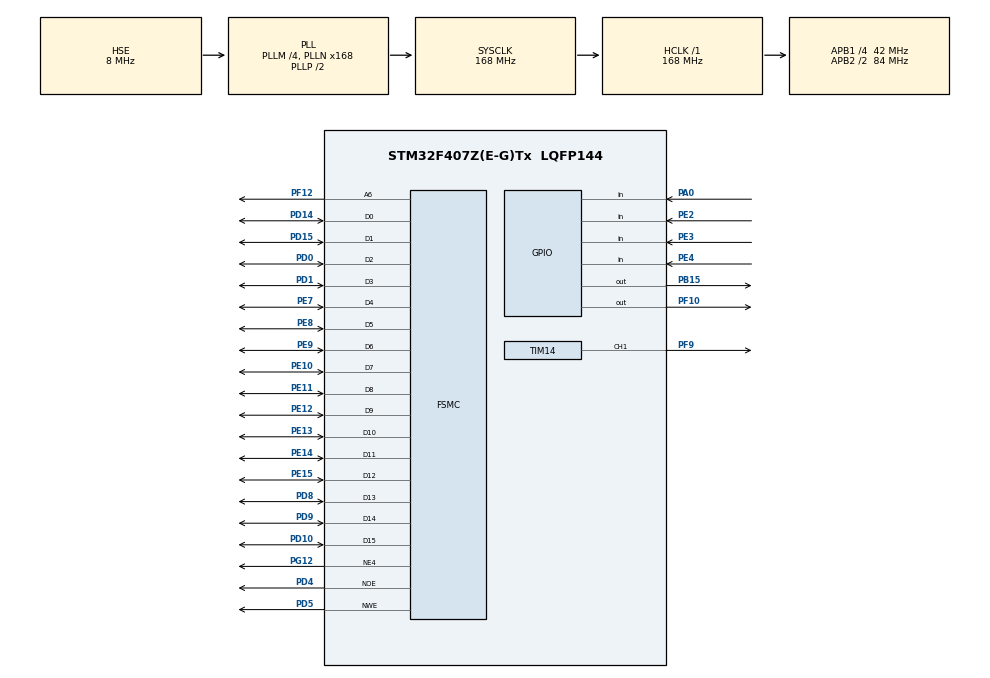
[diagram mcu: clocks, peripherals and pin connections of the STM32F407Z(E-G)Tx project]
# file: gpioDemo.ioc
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FSMC.ExtendedMode1=FSMC_EXTENDED_MODE_ENABLE
Mcu.Family=STM32F4
Mcu.Name=STM32F407Z(E-G)Tx
Mcu.Package=LQFP144
NVIC.PriorityGroup=NVIC_PRIORITYGROUP_2
NVIC.TIM2_IRQn=true\:0\:0\:false\:false\:true\:true
NVIC.TIM3_IRQn=true\:0\:0\:false\:false\:true\:true
PA0-WKUP.GPIO_PuPd=GPIO_PULLDOWN
PA0-WKUP.Signal=GPIO_Input
PB15.Signal=GPIO_Output
PC14-OSC32_IN.Mode=LSE-External-Oscillator
PC14-OSC32_IN.Signal=RCC_OSC32_IN
PC15-OSC32_OUT.Mode=LSE-External-Oscillator
PC15-OSC32_OUT.Signal=RCC_OSC32_OUT
PD0.Signal=FSMC_D2_DA2
PD1.Signal=FSMC_D3_DA3
PD10.Signal=FSMC_D15_DA15
PD14.Signal=FSMC_D0_DA0
PD15.Signal=FSMC_D1_DA1
PD4.Signal=FSMC_NOE
PD5.Signal=FSMC_NWE
PD8.Signal=FSMC_D13_DA13
PD9.Signal=FSMC_D14_DA14
PE10.Signal=FSMC_D7_DA7
PE11.Signal=FSMC_D8_DA8
PE12.Signal=FSMC_D9_DA9
PE13.Signal=FSMC_D10_DA10
PE14.Signal=FSMC_D11_DA11
PE15.Signal=FSMC_D12_DA12
PE2.GPIO_PuPd=GPIO_PULLUP
PE2.Signal=GPIO_Input
PE3.GPIO_PuPd=GPIO_PULLUP
PE3.Signal=GPIO_Input
PE4.GPIO_PuPd=GPIO_PULLUP
PE4.Signal=GPIO_Input
PE7.Signal=FSMC_D4_DA4
PE8.Signal=FSMC_D5_DA5
PE9.Signal=FSMC_D6_DA6
PF10.GPIO_PuPd=GPIO_PULLUP
PF10.PinState=GPIO_PIN_SET
PF10.Signal=GPIO_Output
PF12.Signal=FSMC_A6
PF9.GPIO_Speed=GPIO_SPEED_FREQ_MEDIUM
PF9.Signal=S_TIM14_CH1
PG12.Mode=NorPsramChipSelect4_1
PG12.Signal=FSMC_NE4
PH0-OSC_IN.Mode=HSE-External-Oscillator
PH0-OSC_IN.Signal=RCC_OSC_IN
PH1-OSC_OUT.Mode=HSE-External-Oscillator
PH1-OSC_OUT.Signal=RCC_OSC_OUT
ProjectManager.HeapSize=0x200
ProjectManager.StackSize=0x400
ProjectManager.TargetToolchain=MDK-ARM V4
RCC.48MHZClocksFreq_Value=84000000
RCC.AHBFreq_Value=168000000
RCC.APB1CLKDivider=RCC_HCLK_DIV4
RCC.APB1Freq_Value=42000000
RCC.APB1TimFreq_Value=84000000
RCC.APB2CLKDivider=RCC_HCLK_DIV2
RCC.APB2Freq_Value=84000000
RCC.APB2TimFreq_Value=168000000
RCC.CortexFreq_Value=168000000
RCC.HCLKFreq_Value=168000000
RCC.HSE_VALUE=8000000
RCC.HSI_VALUE=16000000
RCC.PLLM=4
RCC.PLLN=168
RCC.PLLSourceVirtual=RCC_PLLSOURCE_HSE
RCC.SYSCLKFreq_VALUE=168000000
RCC.SYSCLKSource=RCC_SYSCLKSOURCE_PLLCLK
RCC.VCOOutputFreq_Value=336000000
SH.FSMC_A6.0=FSMC_A6,A6_1
SH.FSMC_D0_DA0.0=FSMC_D0,16b-d1
SH.FSMC_D10_DA10.0=FSMC_D10,16b-d1
SH.FSMC_D11_DA11.0=FSMC_D11,16b-d1
SH.FSMC_D12_DA12.0=FSMC_D12,16b-d1
SH.FSMC_D13_DA13.0=FSMC_D13,16b-d1
SH.FSMC_D14_DA14.0=FSMC_D14,16b-d1
SH.FSMC_D15_DA15.0=FSMC_D15,16b-d1
SH.FSMC_D1_DA1.0=FSMC_D1,16b-d1
SH.FSMC_D2_DA2.0=FSMC_D2,16b-d1
SH.FSMC_D3_DA3.0=FSMC_D3,16b-d1
SH.FSMC_D4_DA4.0=FSMC_D4,16b-d1
SH.FSMC_D5_DA5.0=FSMC_D5,16b-d1
SH.FSMC_D6_DA6.0=FSMC_D6,16b-d1
SH.FSMC_D7_DA7.0=FSMC_D7,16b-d1
SH.FSMC_D8_DA8.0=FSMC_D8,16b-d1
SH.FSMC_D9_DA9.0=FSMC_D9,16b-d1
SH.FSMC_NOE.0=FSMC_NOE,Lcd1
SH.FSMC_NWE.0=FSMC_NWE,Lcd1
SH.S_TIM14_CH1.0=TIM14_CH1,PWM Generation1 CH1
TIM14.Channel=TIM_CHANNEL_1
TIM14.OCFastMode_PWM=TIM_OCFAST_ENABLE
TIM14.Period=100
TIM14.Prescaler=16799
TIM14.Pulse=50
TIM2.Period=10000
TIM2.Prescaler=16799
TIM3.Period=168
TIM3.Prescaler=0
VP_TIM14_VS_ClockSourceINT.Mode=Enable_Timer
VP_TIM2_VS_ClockSourceINT.Mode=Internal
VP_TIM3_VS_ClockSourceINT.Mode=Internal
board=custom

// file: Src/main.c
/**
  ******************************************************************************
  * @file           : main.c
  * @brief          : Main program body
  ******************************************************************************
  ** This notice applies to any and all portions of this file
  * that are not between comment pairs USER CODE BEGIN and
  * USER CODE END. Other portions of this file, whether
  * inserted by the user or by software development tools
  * are owned by their respective copyright owners.
  *
  * COPYRIGHT(c) 2018 STMicroelectronics
  *
  * Redistribution and use in source and binary forms, with or without modification,
  * are permitted provided that the following conditions are met:
  *   1. Redistributions of source code must retain the above copyright notice,
  *      this list of conditions and the following disclaimer.
  *   2. Redistributions in binary form must reproduce the above copyright notice,
  *      this list of conditions and the following disclaimer in the documentation
  *      and/or other materials provided with the distribution.
  *   3. Neither the name of STMicroelectronics nor the names of its contributors
  *      may be used to endorse or promote products derived from this software
  *      without specific prior written permission.
  *
  * THIS SOFTWARE IS PROVIDED BY THE COPYRIGHT HOLDERS AND CONTRIBUTORS "AS IS"
  * AND ANY EXPRESS OR IMPLIED WARRANTIES, INCLUDING, BUT NOT LIMITED TO, THE
  * IMPLIED WARRANTIES OF MERCHANTABILITY AND FITNESS FOR A PARTICULAR PURPOSE ARE
  * DISCLAIMED. IN NO EVENT SHALL THE COPYRIGHT HOLDER OR CONTRIBUTORS BE LIABLE
  * FOR ANY DIRECT, INDIRECT, INCIDENTAL, SPECIAL, EXEMPLARY, OR CONSEQUENTIAL
  * DAMAGES (INCLUDING, BUT NOT LIMITED TO, PROCUREMENT OF SUBSTITUTE GOODS OR
  * SERVICES; LOSS OF USE, DATA, OR PROFITS; OR BUSINESS INTERRUPTION) HOWEVER
  * CAUSED AND ON ANY THEORY OF LIABILITY, WHETHER IN CONTRACT, STRICT LIABILITY,
  * OR TORT (INCLUDING NEGLIGENCE OR OTHERWISE) ARISING IN ANY WAY OUT OF THE USE
  * OF THIS SOFTWARE, EVEN IF ADVISED OF THE POSSIBILITY OF SUCH DAMAGE.
  *
  ******************************************************************************
  */
#include "main.h"
#include "stm32f4xx_hal.h"

/* USER CODE BEGIN Includes */
#include "key.h"
#include "lcd.h"
/* USER CODE END Includes */

TIM_HandleTypeDef htim2;
TIM_HandleTypeDef htim3;
TIM_HandleTypeDef htim14;

SRAM_HandleTypeDef hsram1;

/* USER CODE BEGIN PV */
/* Private variables ---------------------------------------------------------*/
 volatile  unsigned char LightFlag=0,DisableExit4=0;
 volatile  unsigned int DelayDatIt=0;
/* USER CODE END PV */

void SystemClock_Config(void);
static void MX_GPIO_Init(void);
static void MX_TIM2_Init(void);
static void MX_TIM14_Init(void);
static void MX_TIM3_Init(void);
static void MX_FSMC_Init(void);

void HAL_TIM_MspPostInit(TIM_HandleTypeDef *htim);

//volatile unsigned int DelayFlag=0;
unsigned int IntervalFlash=1;
//extern unsigned int keyInterval;
unsigned int TIMBEEP;
unsigned int keyFlag=0;
volatile double Ball_X=40;
volatile double Ball_Y=40.0;
volatile unsigned DirectionFlag=0;
volatile double speed=0;
volatile double lastBall_X;
volatile double lastBall_Y;
volatile double Line_X=20;
volatile double Line_Y=650;
volatile double Line_Width=150;
volatile double lastLine_X;
volatile double lastLine_Y;
int show_Flag;
/* USER CODE BEGIN PFP */
/* Private function prototypes -----------------------------------------------*/
//小球显示函数
void Display()
{
	POINT_COLOR=WHITE;  LCD_Draw_Circle(lastBall_X,lastBall_Y,10);
	POINT_COLOR=RED;    LCD_Draw_Circle(Ball_X,Ball_Y,10);
	POINT_COLOR=WHITE;  LCD_DrawLine(lastLine_X, Line_Y, lastLine_X+Line_Width, Line_Y);
	POINT_COLOR=RED;    LCD_DrawLine(Line_X, Line_Y, Line_X+Line_Width, Line_Y);
	if(Ball_Y>Line_Y+20)  {LCD_ShowString(100,90,200,16,16,"GAME OVER"); speed=0;Ball_X=40;Ball_Y=40;}
	//if(Ball_Y<=Line_Y+20) LCD_ShowString(100,90,200,16,16,"         ");
}

//小球移动函数
void MOVE()
{
	if(DirectionFlag==0){//右下
		        lastBall_X=Ball_X;lastBall_Y=Ball_Y;
						Ball_X+=speed;
						Ball_Y+=speed;
					}
					if(DirectionFlag==1){//左下
						lastBall_X=Ball_X;lastBall_Y=Ball_Y;
						Ball_X-=speed;
						Ball_Y+=speed;
					}
					if(DirectionFlag==2){//左上
						lastBall_X=Ball_X;lastBall_Y=Ball_Y;
						Ball_X-=speed;
						Ball_Y-=speed;
					}
					if(DirectionFlag==3){//右上
						lastBall_X=Ball_X;lastBall_Y=Ball_Y;
						Ball_X+=speed;
						Ball_Y-=speed;
					}

		//判断方向
					if(Ball_X>=460){
						if(DirectionFlag==0) DirectionFlag=1;
						else DirectionFlag=2;
					}
					if(Ball_X<=0){
						if(DirectionFlag==2) DirectionFlag=3;
						else DirectionFlag=0;
					}
					if(Ball_Y<=0){
						if(DirectionFlag==3) DirectionFlag=0;
						else DirectionFlag=1;
					}
					if(Ball_Y>=790){
							if(DirectionFlag==1) DirectionFlag=2;
							else DirectionFlag=3;}
					if((Line_X<Ball_X)&&(Line_X+Line_Width>Ball_X)&&(Line_Y-10<Ball_Y)){
							if(DirectionFlag==1) DirectionFlag=2;
							else DirectionFlag=3;}

}
/* USER CODE END PFP */

/* USER CODE BEGIN 0 */
void delay_us(unsigned int DelayDat)
{   DelayDatIt = 0;
    MX_TIM3_Init();
    HAL_TIM_Base_Start_IT(&htim3);
    while(DelayDatIt < DelayDat);
    HAL_TIM_Base_DeInit(&htim3);
}
/* USER CODE END 0 */

int main(void)
{
  /* USER CODE BEGIN 1 */
    unsigned char Flashflag=0,Keydat=0;
  /* USER CODE END 1 */

  /* MCU Configuration----------------------------------------------------------*/

  /* Reset of all peripherals, Initializes the Flash interface and the Systick. */
  HAL_Init();

  /* Configure the system clock */
  SystemClock_Config();

  /* Initialize all configured peripherals */
  MX_GPIO_Init();
  MX_TIM2_Init();
  MX_TIM14_Init();
  MX_TIM3_Init();
  MX_FSMC_Init();
  /* USER CODE BEGIN 2 */
    HAL_TIM_Base_Start_IT(&htim2);
    HAL_TIM_OC_Start(&htim14, TIM_CHANNEL_1);
    HAL_GPIO_WritePin(GPIOB, GPIO_PIN_15, GPIO_PIN_SET);
    LCD_Init();
//    LCD_Clear(WHITE);
	  POINT_COLOR=RED;
//    LCD_ShowString(30,40,210,24,24,"Explorer STM32F4");
//		LCD_ShowString(30,70,200,16,16,"TFTLCD TEST");
//		LCD_ShowString(30,90,200,16,16,"ATOM@ALIENTEK");
//// 		LCD_ShowString(30,110,200,16,16,lcd_id);		//显示LCD ID
//		LCD_ShowString(30,130,200,12,12,"2014/5/4");
  /* USER CODE END 2 */
//NVIC_PriorityGroupConfig(NVIC_PriorityGroup_2);//设置系统中断优先级分组2
//	delay_init(168);      //初始化延时函数
//	uart_init(115200);		//初始化串口波特率为115200
//	LED_Init();				//初始化LED端口
//	BEEP_Init();
//	LCD_Init();           //初始化LCD FSMC接口
//  KEY_Init();
// 	TIM3_Int_Init(100-1,168-1);	//定时器时钟84M，分频系数8400，所以84M/8400=10Khz的计数频率，计数5000次为500ms
//	POINT_COLOR=RED;
  /* Infinite loop */
  /* USER CODE BEGIN WHILE */
  while (1)
  {
		MOVE();
   Display();
		switch(KEY_Scan(0))
		{
			 case 3://向左
				 lastLine_X=Line_X;
				 if(Line_X>0)Line_X-=30;
				 keyFlag=0;
				  break;
			 case 1://向右
				  lastLine_X=Line_X;
				 	if(Line_X<450)Line_X+=30;
          keyFlag=1;
				  break;
			 case 4://向上
					speed+=1;
			 LCD_ShowString(100,90,200,16,16,"         ");
				  break;
			 case 2://向下
					if(speed>0) speed-=1;
				  break;
		}
		//LCD_Clear(WHITE);
		//LCD_ShowString(Ball_X,Ball_Y,210,24,24,"");
//		if(keyFlag) {LED0=1;LED1=0;}
//		else {LED0=0;LED1=1;}
  /* USER CODE END WHILE */

  /* USER CODE BEGIN 3 */
//    HAL_GPIO_WritePin(GPIOB, GPIO_PIN_15, GPIO_PIN_SET);
//     delay_us(200000);
//    HAL_GPIO_WritePin(GPIOB, GPIO_PIN_15, GPIO_PIN_RESET);
//    delay_us(200000);
//      if(KEY_Scan(1))
//    HAL_GPIO_WritePin(GPIOF, GPIO_PIN_10, GPIO_PIN_RESET);
//    else HAL_GPIO_WritePin(GPIOF, GPIO_PIN_10, GPIO_PIN_SET);
//    __HAL_TIM_SET_COMPARE(&htim14, TIM_CHANNEL_1,50);
//      if(0==HAL_GPIO_ReadPin(GPIOE, GPIO_PIN_2))
//      {
//
////          Flashflag=!(Flashflag);
//        HAL_Delay(200);
//      }
//      if(Flashflag)
//      {
//          HAL_GPIO_TogglePin(GPIOF, GPIO_PIN_9);
//          HAL_Delay(200);
//      }
//      if(LightFlag)
//      {
//         HAL_GPIO_WritePin(GPIOF, GPIO_PIN_10, GPIO_PIN_RESET);
//      }
//      else HAL_GPIO_WritePin(GPIOF, GPIO_PIN_10, GPIO_PIN_SET);
//      if(DisableExit4)
//      {
//          Keydat=LightFlag;
//          HAL_NVIC_DisableIRQ(EXTI4_IRQn);
//          HAL_Delay(500);
//          HAL_NVIC_EnableIRQ(EXTI4_IRQn);
//          DisableExit4=0;
//          LightFlag=Keydat;
//      }
  }
  /* USER CODE END 3 */

}

void SystemClock_Config(void)
{

  RCC_OscInitTypeDef RCC_OscInitStruct;
  RCC_ClkInitTypeDef RCC_ClkInitStruct;

    /**Configure the main internal regulator output voltage
    */
  __HAL_RCC_PWR_CLK_ENABLE();

  __HAL_PWR_VOLTAGESCALING_CONFIG(PWR_REGULATOR_VOLTAGE_SCALE1);

    /**Initializes the CPU, AHB and APB busses clocks
    */
  RCC_OscInitStruct.OscillatorType = RCC_OSCILLATORTYPE_HSE;
  RCC_OscInitStruct.HSEState = RCC_HSE_ON;
  RCC_OscInitStruct.PLL.PLLState = RCC_PLL_ON;
  RCC_OscInitStruct.PLL.PLLSource = RCC_PLLSOURCE_HSE;
  RCC_OscInitStruct.PLL.PLLM = 4;
  RCC_OscInitStruct.PLL.PLLN = 168;
  RCC_OscInitStruct.PLL.PLLP = RCC_PLLP_DIV2;
  RCC_OscInitStruct.PLL.PLLQ = 4;
  if (HAL_RCC_OscConfig(&RCC_OscInitStruct) != HAL_OK)
  {
    _Error_Handler(__FILE__, __LINE__);
  }

    /**Initializes the CPU, AHB and APB busses clocks
    */
  RCC_ClkInitStruct.ClockType = RCC_CLOCKTYPE_HCLK|RCC_CLOCKTYPE_SYSCLK
                              |RCC_CLOCKTYPE_PCLK1|RCC_CLOCKTYPE_PCLK2;
  RCC_ClkInitStruct.SYSCLKSource = RCC_SYSCLKSOURCE_PLLCLK;
  RCC_ClkInitStruct.AHBCLKDivider = RCC_SYSCLK_DIV1;
  RCC_ClkInitStruct.APB1CLKDivider = RCC_HCLK_DIV4;
  RCC_ClkInitStruct.APB2CLKDivider = RCC_HCLK_DIV2;

  if (HAL_RCC_ClockConfig(&RCC_ClkInitStruct, FLASH_LATENCY_5) != HAL_OK)
  {
    _Error_Handler(__FILE__, __LINE__);
  }

    /**Configure the Systick interrupt time
    */
  HAL_SYSTICK_Config(HAL_RCC_GetHCLKFreq()/1000);

    /**Configure the Systick
    */
  HAL_SYSTICK_CLKSourceConfig(SYSTICK_CLKSOURCE_HCLK);

  /* SysTick_IRQn interrupt configuration */
  HAL_NVIC_SetPriority(SysTick_IRQn, 0, 0);
}

/* TIM2 init function */
static void MX_TIM2_Init(void)
{

  TIM_ClockConfigTypeDef sClockSourceConfig;
  TIM_MasterConfigTypeDef sMasterConfig;

  htim2.Instance = TIM2;
  htim2.Init.Prescaler = 16799;
  htim2.Init.CounterMode = TIM_COUNTERMODE_UP;
  htim2.Init.Period = 10000;
  htim2.Init.ClockDivision = TIM_CLOCKDIVISION_DIV1;
  if (HAL_TIM_Base_Init(&htim2) != HAL_OK)
  {
    _Error_Handler(__FILE__, __LINE__);
  }

  sClockSourceConfig.ClockSource = TIM_CLOCKSOURCE_INTERNAL;
  if (HAL_TIM_ConfigClockSource(&htim2, &sClockSourceConfig) != HAL_OK)
  {
    _Error_Handler(__FILE__, __LINE__);
  }

  sMasterConfig.MasterOutputTrigger = TIM_TRGO_RESET;
  sMasterConfig.MasterSlaveMode = TIM_MASTERSLAVEMODE_DISABLE;
  if (HAL_TIMEx_MasterConfigSynchronization(&htim2, &sMasterConfig) != HAL_OK)
  {
    _Error_Handler(__FILE__, __LINE__);
  }

}

/* TIM3 init function */
static void MX_TIM3_Init(void)
{

  TIM_ClockConfigTypeDef sClockSourceConfig;
  TIM_MasterConfigTypeDef sMasterConfig;

  htim3.Instance = TIM3;
  htim3.Init.Prescaler = 0;
  htim3.Init.CounterMode = TIM_COUNTERMODE_UP;
  htim3.Init.Period = 168;
  htim3.Init.ClockDivision = TIM_CLOCKDIVISION_DIV1;
  if (HAL_TIM_Base_Init(&htim3) != HAL_OK)
  {
    _Error_Handler(__FILE__, __LINE__);
  }

  sClockSourceConfig.ClockSource = TIM_CLOCKSOURCE_INTERNAL;
  if (HAL_TIM_ConfigClockSource(&htim3, &sClockSourceConfig) != HAL_OK)
  {
    _Error_Handler(__FILE__, __LINE__);
  }

  sMasterConfig.MasterOutputTrigger = TIM_TRGO_RESET;
  sMasterConfig.MasterSlaveMode = TIM_MASTERSLAVEMODE_DISABLE;
  if (HAL_TIMEx_MasterConfigSynchronization(&htim3, &sMasterConfig) != HAL_OK)
  {
    _Error_Handler(__FILE__, __LINE__);
  }

}

/* TIM14 init function */
static void MX_TIM14_Init(void)
{

  TIM_OC_InitTypeDef sConfigOC;

  htim14.Instance = TIM14;
  htim14.Init.Prescaler = 16799;
  htim14.Init.CounterMode = TIM_COUNTERMODE_UP;
  htim14.Init.Period = 100;
  htim14.Init.ClockDivision = TIM_CLOCKDIVISION_DIV1;
  if (HAL_TIM_Base_Init(&htim14) != HAL_OK)
  {
    _Error_Handler(__FILE__, __LINE__);
  }

  if (HAL_TIM_PWM_Init(&htim14) != HAL_OK)
  {
    _Error_Handler(__FILE__, __LINE__);
  }

  sConfigOC.OCMode = TIM_OCMODE_PWM1;
  sConfigOC.Pulse = 50;
  sConfigOC.OCPolarity = TIM_OCPOLARITY_HIGH;
  sConfigOC.OCFastMode = TIM_OCFAST_ENABLE;
  if (HAL_TIM_PWM_ConfigChannel(&htim14, &sConfigOC, TIM_CHANNEL_1) != HAL_OK)
  {
    _Error_Handler(__FILE__, __LINE__);
  }

  HAL_TIM_MspPostInit(&htim14);

}

/** Configure pins as
        * Analog
        * Input
        * Output
        * EVENT_OUT
        * EXTI
*/
static void MX_GPIO_Init(void)
{

  GPIO_InitTypeDef GPIO_InitStruct;

  /* GPIO Ports Clock Enable */
  __HAL_RCC_GPIOE_CLK_ENABLE();
  __HAL_RCC_GPIOC_CLK_ENABLE();
  __HAL_RCC_GPIOF_CLK_ENABLE();
  __HAL_RCC_GPIOH_CLK_ENABLE();
  __HAL_RCC_GPIOA_CLK_ENABLE();
  __HAL_RCC_GPIOB_CLK_ENABLE();
  __HAL_RCC_GPIOD_CLK_ENABLE();
  __HAL_RCC_GPIOG_CLK_ENABLE();

  /*Configure GPIO pin Output Level */
  HAL_GPIO_WritePin(GPIOF, GPIO_PIN_10, GPIO_PIN_SET);

  /*Configure GPIO pin Output Level */
  HAL_GPIO_WritePin(GPIOB, GPIO_PIN_15, GPIO_PIN_RESET);

  /*Configure GPIO pins : PE2 PE3 PE4 */
  GPIO_InitStruct.Pin = GPIO_PIN_2|GPIO_PIN_3|GPIO_PIN_4;
  GPIO_InitStruct.Mode = GPIO_MODE_INPUT;
  GPIO_InitStruct.Pull = GPIO_PULLUP;
  HAL_GPIO_Init(GPIOE, &GPIO_InitStruct);

  /*Configure GPIO pin : PF10 */
  GPIO_InitStruct.Pin = GPIO_PIN_10;
  GPIO_InitStruct.Mode = GPIO_MODE_OUTPUT_PP;
  GPIO_InitStruct.Pull = GPIO_PULLUP;
  GPIO_InitStruct.Speed = GPIO_SPEED_FREQ_LOW;
  HAL_GPIO_Init(GPIOF, &GPIO_InitStruct);

  /*Configure GPIO pin : PA0 */
  GPIO_InitStruct.Pin = GPIO_PIN_0;
  GPIO_InitStruct.Mode = GPIO_MODE_INPUT;
  GPIO_InitStruct.Pull = GPIO_PULLDOWN;
  HAL_GPIO_Init(GPIOA, &GPIO_InitStruct);

  /*Configure GPIO pin : PB15 */
  GPIO_InitStruct.Pin = GPIO_PIN_15;
  GPIO_InitStruct.Mode = GPIO_MODE_OUTPUT_PP;
  GPIO_InitStruct.Pull = GPIO_NOPULL;
  GPIO_InitStruct.Speed = GPIO_SPEED_FREQ_LOW;
  HAL_GPIO_Init(GPIOB, &GPIO_InitStruct);

}

/* FSMC initialization function */
static void MX_FSMC_Init(void)
{
  FSMC_NORSRAM_TimingTypeDef Timing;
  FSMC_NORSRAM_TimingTypeDef ExtTiming;

  /** Perform the SRAM1 memory initialization sequence
  */
  hsram1.Instance = FSMC_NORSRAM_DEVICE;
  hsram1.Extended = FSMC_NORSRAM_EXTENDED_DEVICE;
  /* hsram1.Init */
  hsram1.Init.NSBank = FSMC_NORSRAM_BANK4;
  hsram1.Init.DataAddressMux = FSMC_DATA_ADDRESS_MUX_DISABLE;
  hsram1.Init.MemoryType = FSMC_MEMORY_TYPE_SRAM;
  hsram1.Init.MemoryDataWidth = FSMC_NORSRAM_MEM_BUS_WIDTH_16;
  hsram1.Init.BurstAccessMode = FSMC_BURST_ACCESS_MODE_DISABLE;
  hsram1.Init.WaitSignalPolarity = FSMC_WAIT_SIGNAL_POLARITY_LOW;
  hsram1.Init.WrapMode = FSMC_WRAP_MODE_DISABLE;
  hsram1.Init.WaitSignalActive = FSMC_WAIT_TIMING_BEFORE_WS;
  hsram1.Init.WriteOperation = FSMC_WRITE_OPERATION_ENABLE;
  hsram1.Init.WaitSignal = FSMC_WAIT_SIGNAL_DISABLE;
  hsram1.Init.ExtendedMode = FSMC_EXTENDED_MODE_ENABLE;
  hsram1.Init.AsynchronousWait = FSMC_ASYNCHRONOUS_WAIT_DISABLE;
  hsram1.Init.WriteBurst = FSMC_WRITE_BURST_DISABLE;
  hsram1.Init.PageSize = FSMC_PAGE_SIZE_NONE;
  /* Timing */
  Timing.AddressSetupTime = 15;
  Timing.AddressHoldTime = 15;
  Timing.DataSetupTime = 255;
  Timing.BusTurnAroundDuration = 15;
  Timing.CLKDivision = 16;
  Timing.DataLatency = 17;
  Timing.AccessMode = FSMC_ACCESS_MODE_A;
  /* ExtTiming */
  ExtTiming.AddressSetupTime = 15;
  ExtTiming.AddressHoldTime = 15;
  ExtTiming.DataSetupTime = 255;
  ExtTiming.BusTurnAroundDuration = 15;
  ExtTiming.CLKDivision = 16;
  ExtTiming.DataLatency = 17;
  ExtTiming.AccessMode = FSMC_ACCESS_MODE_A;

  if (HAL_SRAM_Init(&hsram1, &Timing, &ExtTiming) != HAL_OK)
  {
    _Error_Handler(__FILE__, __LINE__);
  }

}

/* USER CODE BEGIN 4 */
void user_MX_TIM2_Init(unsigned int inputPeriod)
{

  TIM_ClockConfigTypeDef sClockSourceConfig;
  TIM_MasterConfigTypeDef sMasterConfig;
  HAL_TIM_Base_DeInit(&htim2);

  htim2.Instance = TIM2;
  htim2.Init.Prescaler = 16799;
  htim2.Init.CounterMode = TIM_COUNTERMODE_UP;
  htim2.Init.Period = inputPeriod;
  htim2.Init.ClockDivision = TIM_CLOCKDIVISION_DIV1;
  if (HAL_TIM_Base_Init(&htim2) != HAL_OK)
  {
    _Error_Handler(__FILE__, __LINE__);
  }

  sClockSourceConfig.ClockSource = TIM_CLOCKSOURCE_INTERNAL;
  if (HAL_TIM_ConfigClockSource(&htim2, &sClockSourceConfig) != HAL_OK)
  {
    _Error_Handler(__FILE__, __LINE__);
  }

  sMasterConfig.MasterOutputTrigger = TIM_TRGO_RESET;
  sMasterConfig.MasterSlaveMode = TIM_MASTERSLAVEMODE_DISABLE;
  if (HAL_TIMEx_MasterConfigSynchronization(&htim2, &sMasterConfig) != HAL_OK)
  {
    _Error_Handler(__FILE__, __LINE__);
  }

}
/* USER CODE END 4 */

void _Error_Handler(char *file, int line)
{
  while(1)
  {
  }
}

/************************ (C) COPYRIGHT STMicroelectronics *****END OF FILE****/
